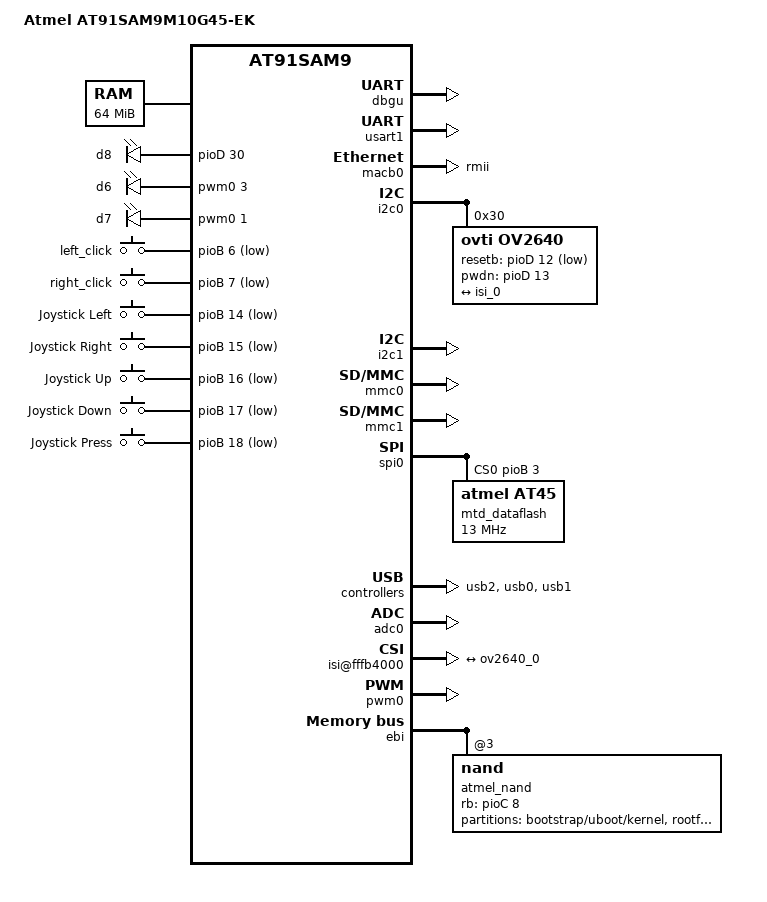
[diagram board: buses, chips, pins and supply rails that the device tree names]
// SPDX-License-Identifier: GPL-2.0-or-later
/*
 * at91sam9m10g45ek.dts - Device Tree file for AT91SAM9M10G45-EK board
 *
 *  Copyright (C) 2011 Atmel,
 *                2011 Nicolas Ferre <nicolas.ferre@atmel.com>
 */
/dts-v1/;
#include "at91sam9g45.dtsi"
#include <dt-bindings/pwm/pwm.h>

/ {
	model = "Atmel AT91SAM9M10G45-EK";
	compatible = "atmel,at91sam9m10g45ek", "atmel,at91sam9g45", "atmel,at91sam9";

	chosen {
		bootargs = "mem=64M root=/dev/mtdblock1 rw rootfstype=jffs2";
		stdout-path = "serial0:115200n8";
	};

	memory {
		reg = <0x70000000 0x4000000>;
	};

	clocks {
		slow_xtal {
		      clock-frequency = <32768>;
		};

		main_xtal {
		      clock-frequency = <12000000>;
		};
	};

	ahb {
		apb {
			dbgu: serial@ffffee00 {
				status = "okay";
			};

			tcb0: timer@fff7c000 {
				timer@0 {
					compatible = "atmel,tcb-timer";
					reg = <0>, <1>;
				};

				timer@2 {
					compatible = "atmel,tcb-timer";
					reg = <2>;
				};
			};

			usart1: serial@fff90000 {
				pinctrl-0 =
					<&pinctrl_usart1
					 &pinctrl_usart1_rts
					 &pinctrl_usart1_cts>;
				status = "okay";
			};

			macb0: ethernet@fffbc000 {
				phy-mode = "rmii";
				status = "okay";
			};

			i2c0: i2c@fff84000 {
				status = "okay";
				ov2640: camera@30 {
					compatible = "ovti,ov2640";
					reg = <0x30>;
					pinctrl-names = "default";
					pinctrl-0 = <&pinctrl_pck1_as_isi_mck &pinctrl_sensor_power &pinctrl_sensor_reset>;
					resetb-gpios = <&pioD 12 GPIO_ACTIVE_LOW>;
					pwdn-gpios = <&pioD 13 GPIO_ACTIVE_HIGH>;
					clocks = <&pmc PMC_TYPE_SYSTEM 9>;
					clock-names = "xvclk";
					assigned-clocks = <&pmc PMC_TYPE_SYSTEM 9>;
					assigned-clock-rates = <25000000>;

					port {
						ov2640_0: endpoint {
							remote-endpoint = <&isi_0>;
							bus-width = <8>;
						};
					};
				};
			};

			i2c1: i2c@fff88000 {
				status = "okay";
			};

			watchdog@fffffd40 {
				status = "okay";
			};

			mmc0: mmc@fff80000 {
				pinctrl-0 = <
					&pinctrl_board_mmc0
					&pinctrl_mmc0_slot0_clk_cmd_dat0
					&pinctrl_mmc0_slot0_dat1_3>;
				status = "okay";
				slot@0 {
					reg = <0>;
					bus-width = <4>;
					cd-gpios = <&pioD 10 GPIO_ACTIVE_HIGH>;
				};
			};

			mmc1: mmc@fffd0000 {
				pinctrl-0 = <
					&pinctrl_board_mmc1
					&pinctrl_mmc1_slot0_clk_cmd_dat0
					&pinctrl_mmc1_slot0_dat1_3>;
				status = "okay";
				slot@0 {
					reg = <0>;
					bus-width = <4>;
					cd-gpios = <&pioD 11 GPIO_ACTIVE_HIGH>;
					wp-gpios = <&pioD 29 GPIO_ACTIVE_HIGH>;
				};
			};

			pinctrl@fffff200 {
				camera_sensor {
					pinctrl_pck1_as_isi_mck: pck1_as_isi_mck-0 {
						atmel,pins =
							<AT91_PIOB 31 AT91_PERIPH_B AT91_PINCTRL_NONE>;
					};

					pinctrl_sensor_reset: sensor_reset-0 {
						atmel,pins =
							<AT91_PIOD 12 AT91_PERIPH_GPIO AT91_PINCTRL_NONE>;
					};

					pinctrl_sensor_power: sensor_power-0 {
						atmel,pins =
							<AT91_PIOD 13 AT91_PERIPH_GPIO AT91_PINCTRL_NONE>;
					};
				};
				mmc0 {
					pinctrl_board_mmc0: mmc0-board {
						atmel,pins =
							<AT91_PIOD 10 AT91_PERIPH_GPIO AT91_PINCTRL_PULL_UP_DEGLITCH>;	/* PD10 gpio CD pin pull up and deglitch */
					};
				};

				mmc1 {
					pinctrl_board_mmc1: mmc1-board {
						atmel,pins =
							<AT91_PIOD 11 AT91_PERIPH_GPIO AT91_PINCTRL_PULL_UP_DEGLITCH	/* PD11 gpio CD pin pull up and deglitch */
							 AT91_PIOD 29 AT91_PERIPH_GPIO AT91_PINCTRL_PULL_UP>;	/* PD29 gpio WP pin pull up */
					};
				};

				pwm0 {
					pinctrl_pwm_leds: pwm-led {
						atmel,pins =
							<AT91_PIOD 0  AT91_PERIPH_B AT91_PINCTRL_PULL_UP	/* PD0 periph B */
							 AT91_PIOD 31 AT91_PERIPH_B AT91_PINCTRL_PULL_UP>;	/* PD31 periph B */
					};
				};
			};

			spi0: spi@fffa4000{
				status = "okay";
				cs-gpios = <&pioB 3 0>, <0>, <0>, <0>;
				mtd_dataflash@0 {
					compatible = "atmel,at45", "atmel,dataflash";
					spi-max-frequency = <13000000>;
					reg = <0>;
				};
			};

			usb2: gadget@fff78000 {
				atmel,vbus-gpio = <&pioB 19 GPIO_ACTIVE_HIGH>;
				status = "okay";
			};

			ac97: sound@fffac000 {
				status = "okay";
			};

			adc0: adc@fffb0000 {
				pinctrl-names = "default";
				pinctrl-0 = <
					&pinctrl_adc0_ad0
					&pinctrl_adc0_ad1
					&pinctrl_adc0_ad2
					&pinctrl_adc0_ad3
					&pinctrl_adc0_ad4
					&pinctrl_adc0_ad5
					&pinctrl_adc0_ad6
					&pinctrl_adc0_ad7>;
				atmel,adc-ts-wires = <4>;
				status = "okay";
			};

			isi@fffb4000 {
				pinctrl-names = "default";
				pinctrl-0 = <&pinctrl_isi_data_0_7>;
				status = "okay";
				port {
					isi_0: endpoint {
						remote-endpoint = <&ov2640_0>;
						bus-width = <8>;
						vsync-active = <1>;
						hsync-active = <1>;
					};
				};
			};

			pwm0: pwm@fffb8000 {
				status = "okay";

				pinctrl-names = "default";
				pinctrl-0 = <&pinctrl_pwm_leds>;
			};

			rtc@fffffd20 {
				atmel,rtt-rtc-time-reg = <&gpbr 0x0>;
				status = "okay";
			};

			gpbr: syscon@fffffd60 {
				status = "okay";
			};

			rtc@fffffdb0 {
				status = "okay";
			};
		};

		fb0: fb@500000 {
			display = <&display0>;
			status = "okay";

			display0: panel {
				bits-per-pixel = <32>;
				atmel,lcdcon-backlight;
				atmel,dmacon = <0x1>;
				atmel,lcdcon2 = <0x80008002>;
				atmel,guard-time = <9>;
				atmel,lcd-wiring-mode = "RGB";

				display-timings {
					native-mode = <&timing0>;
					timing0: timing0 {
						clock-frequency = <9000000>;
						hactive = <480>;
						vactive = <272>;
						hback-porch = <1>;
						hfront-porch = <1>;
						vback-porch = <40>;
						vfront-porch = <1>;
						hsync-len = <45>;
						vsync-len = <1>;
					};
				};
			};
		};

		ebi: ebi@10000000 {
			status = "okay";

			nand_controller: nand-controller {
				status = "okay";
				pinctrl-0 = <&pinctrl_nand_cs &pinctrl_nand_rb>;
				pinctrl-names = "default";

				nand@3 {
					reg = <0x3 0x0 0x800000>;
					rb-gpios = <&pioC 8 GPIO_ACTIVE_HIGH>;
					cs-gpios = <&pioC 14 GPIO_ACTIVE_HIGH>;
					nand-bus-width = <8>;
					nand-ecc-mode = "soft";
					nand-on-flash-bbt;
					label = "atmel_nand";

					partitions {
						compatible = "fixed-partitions";
						#address-cells = <1>;
						#size-cells = <1>;

						boot@0 {
							label = "bootstrap/uboot/kernel";
							reg = <0x0 0x400000>;
						};

						rootfs@400000 {
							label = "rootfs";
							reg = <0x400000 0x3C00000>;
						};

						data@4000000 {
							label = "data";
							reg = <0x4000000 0xC000000>;
						};
					};
				};
			};
		};

		usb0: ohci@700000 {
			status = "okay";
			num-ports = <2>;
			atmel,vbus-gpio = <&pioD 1 GPIO_ACTIVE_LOW
					   &pioD 3 GPIO_ACTIVE_LOW>;
		};

		usb1: ehci@800000 {
			status = "okay";
		};
	};

	leds {
		compatible = "gpio-leds";

		d8 {
			label = "d8";
			gpios = <&pioD 30 GPIO_ACTIVE_HIGH>;
			linux,default-trigger = "heartbeat";
		};
	};

	pwmleds {
		compatible = "pwm-leds";

		d6 {
			label = "d6";
			pwms = <&pwm0 3 5000 PWM_POLARITY_INVERTED>;
			max-brightness = <255>;
			linux,default-trigger = "nand-disk";
		};

		d7 {
			label = "d7";
			pwms = <&pwm0 1 5000 PWM_POLARITY_INVERTED>;
			max-brightness = <255>;
			linux,default-trigger = "mmc0";
		};
	};

	gpio_keys {
		compatible = "gpio-keys";

		left_click {
			label = "left_click";
			gpios = <&pioB 6 GPIO_ACTIVE_LOW>;
			linux,code = <272>;
			wakeup-source;
		};

		right_click {
			label = "right_click";
			gpios = <&pioB 7 GPIO_ACTIVE_LOW>;
			linux,code = <273>;
			wakeup-source;
		};

		left {
			label = "Joystick Left";
			gpios = <&pioB 14 GPIO_ACTIVE_LOW>;
			linux,code = <105>;
		};

		right {
			label = "Joystick Right";
			gpios = <&pioB 15 GPIO_ACTIVE_LOW>;
			linux,code = <106>;
		};

		up {
			label = "Joystick Up";
			gpios = <&pioB 16 GPIO_ACTIVE_LOW>;
			linux,code = <103>;
		};

		down {
			label = "Joystick Down";
			gpios = <&pioB 17 GPIO_ACTIVE_LOW>;
			linux,code = <108>;
		};

		enter {
			label = "Joystick Press";
			gpios = <&pioB 18 GPIO_ACTIVE_LOW>;
			linux,code = <28>;
		};
	};
};
